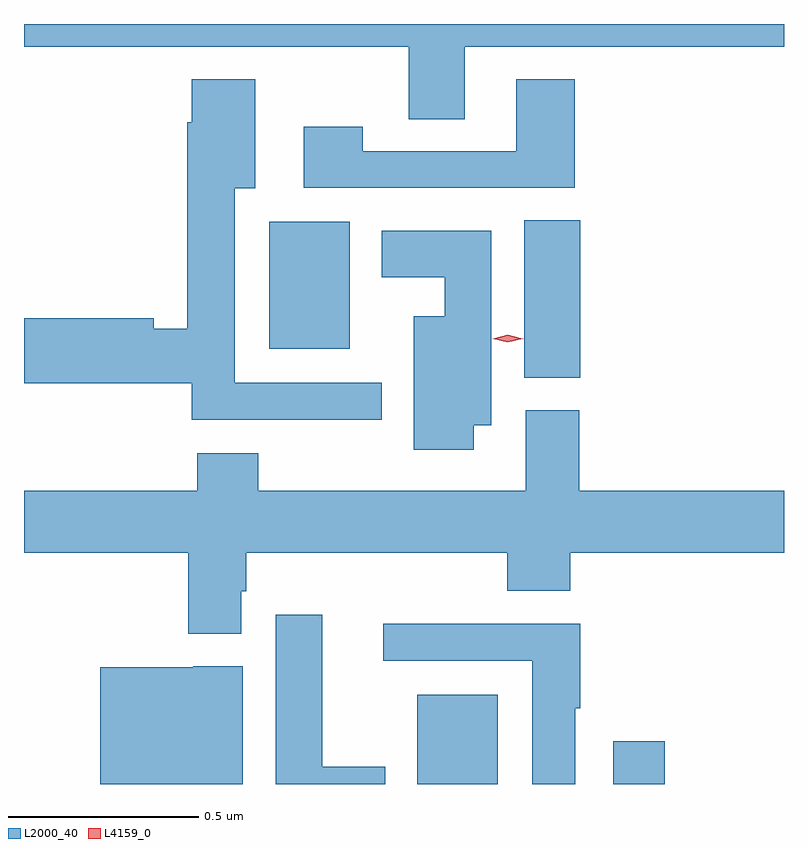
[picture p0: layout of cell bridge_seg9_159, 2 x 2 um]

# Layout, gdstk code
import gdstk
lib = gdstk.Library(unit=1e-6, precision=1e-09)
def R(c, l, rs):  # rectangles x0, y0, x1, y1
    for r in rs: c.add(gdstk.rectangle(r[:2], r[2:], *l))
def P(c, l, *ps):  # polygons
    for p in ps: c.add(gdstk.Polygon(p, *l))
L2000_40 = (2000, 40)
L4159_0 = (4159, 0)

bridge_seg9_159 = lib.new_cell('bridge_seg9_159')
R(bridge_seg9_159, L2000_40, [(340.892,1235.772,341.104,1236.007), (341.408,1235.772,341.543,1235.884), (341.174,1236.841,341.321,1237.256), (340.502,1236.917,340.714,1237.252)])
P(bridge_seg9_159, L2000_40, [(341.017,1237.712),(341.857,1237.712),(341.857,1237.772),(339.857,1237.772),(339.857,1237.712),(340.87,1237.712),(340.87,1237.522),(341.017,1237.522)],
  [(341.306,1237.627),(341.153,1237.627),(341.153,1237.437),(340.749,1237.437),(340.749,1237.501),(340.593,1237.501),(340.593,1237.341),(341.306,1237.341)],
  [(340.798,1236.828),(340.411,1236.828),(340.411,1237.34),(340.465,1237.34),(340.465,1237.627),(340.298,1237.627),(340.298,1237.514),(340.286,1237.514),(340.286,1236.97),(340.198,1236.97),(340.198,1236.998),(339.857,1236.998),(339.857,1236.827),(340.298,1236.827),(340.298,1236.731),(340.798,1236.731)],
  [(341.041,1236.716),(341.086,1236.716),(341.086,1237.228),(340.799,1237.228),(340.799,1237.106),(340.964,1237.106),(340.964,1237.003),(340.883,1237.003),(340.883,1236.651),(341.041,1236.651)],
  [(340.429,1236.279),(340.442,1236.279),(340.442,1236.38),(341.129,1236.38),(341.129,1236.281),(341.294,1236.281),(341.294,1236.38),(341.857,1236.38),(341.857,1236.544),(341.318,1236.544),(341.318,1236.756),(341.177,1236.756),(341.177,1236.544),(340.473,1236.544),(340.473,1236.643),(340.313,1236.643),(340.313,1236.544),(339.857,1236.544),(339.857,1236.38),(340.289,1236.38),(340.289,1236.167),(340.429,1236.167)],
  [(340.807,1235.818),(340.642,1235.818),(340.642,1236.217),(340.52,1236.217),(340.52,1235.772),(340.807,1235.772)],
  [(341.308,1235.971),(341.321,1235.971),(341.321,1236.194),(340.803,1236.194),(340.803,1236.096),(341.195,1236.096),(341.195,1235.772),(341.308,1235.772)],
  [(340.432,1236.082),(340.302,1236.082),(340.302,1236.079),(340.058,1236.079),(340.058,1235.772),(340.432,1235.772)])
P(bridge_seg9_159, L4159_0, [(341.13,1236.934),(341.09,1236.944),(341.09,1236.944),(341.09,1236.944),(341.13,1236.954),(341.17,1236.944),(341.171,1236.944),(341.17,1236.944)])

lib.write_gds('bridge_seg9_159.gds')
